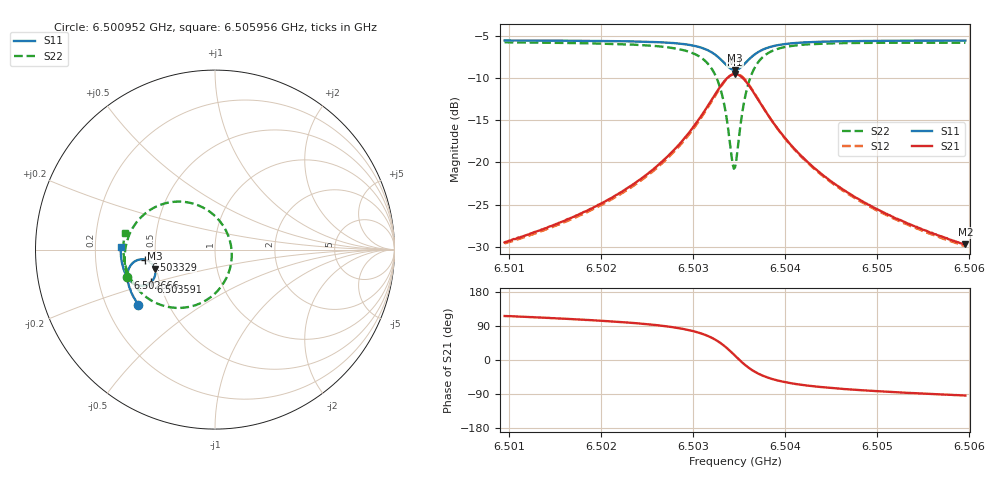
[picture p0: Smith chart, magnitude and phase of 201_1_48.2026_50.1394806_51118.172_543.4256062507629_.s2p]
#  HZ  S  RI  R  50.00
! Rohde & Schwarz Vector Network Analyzer
! Rohde-Schwarz,ZNB20-2Port,1311601062101988,3.16
! Created: UTC 3/20/2024, 11:45:02 AM
! freq[Hz]  re:S11  im:S11  re:S21  im:S21  re:S12  im:S12  re:S22  im:S22
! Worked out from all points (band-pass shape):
!   401 points, 6.500952 GHz to 6.505956 GHz, reference 50 ohm
!   highest |S21| = -9.55 dB at 6.503454 GHz (marker M1); lowest = -29.7 dB at 6.505956 GHz (marker M2)
!   |S21| within 3 dB of the highest: 6.503203 GHz to 6.503704 GHz (500.5 kHz wide, 0.0077 % of centre)
!   lowest |S11| = -9.1 dB at 6.503454 GHz (marker M3), VSWR 2.08, Z = 24.4 - j5.91 ohm
!   |S11| at or under -10 dB: nowhere
!   |S22| runs from -20.7 to -5.8 dB; largest |S21 - S12| = 0.012
!   S11 on the Smith chart (normalised r, x): 6.500952 GHz: 0.34, -0.29; 6.502666 GHz: 0.33, -0.14; 6.503329 GHz: 0.44, -0.06; 6.503591 GHz: 0.45, -0.19; 6.505956 GHz: 0.31, +0.01
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6.5009515e9  -0.4264 -0.3091  -0.0148 0.0302  -0.0132 0.0304  -0.49 -0.154
6.5017898e9  -0.4624 -0.247  -0.0142 0.048  -0.0118 0.0476  -0.5032 -0.0647
6.5022027e9  -0.4771 -0.2107  -0.0118 0.0649  -0.00888 0.0638  -0.5009 -0.00688
6.5026281e9  -0.4874 -0.1642  -0.00202 0.0973  0.00159 0.0949  -0.4799 0.0766
6.5026656e9  -0.4879 -0.1593  -0.000442 0.1014  0.00331 0.0989  -0.4761 0.0862
6.5029409e9  -0.4837 -0.1163  0.0268 0.1442  0.0304 0.1397  -0.4198 0.1724
6.5031286e9  -0.462 -0.0781  0.0817 0.1865  0.0839 0.1804  -0.3151 0.245
6.5032412e9  -0.4289 -0.0574  0.1513 0.204  0.1522 0.1978  -0.1889 0.2671
6.5033287e9  -0.3881 -0.0561  0.2318 0.1873  0.2321 0.1822  -0.0503 0.2252
6.5034163e9  -0.346 -0.0845  0.3088 0.114  0.3113 0.1093  0.0725 0.0809
6.5034414e9  -0.3382 -0.0984  0.3222 0.0826  0.3251 0.0773  0.0891 0.0219
6.5034539e9  -0.3353 -0.106  0.3264 0.066  0.3297 0.0602  0.093 -0.00899
6.5034789e9  -0.3324 -0.1219  0.3299 0.0319  0.3334 0.0249  0.0904 -0.0712
6.5035414e9  -0.3398 -0.1597  0.3108 -0.0467  0.3131 -0.0569  0.0329 -0.2078
6.5035915e9  -0.3565 -0.1817  0.2769 -0.0925  0.2765 -0.1039  -0.0445 -0.279
6.5037041e9  -0.4014 -0.2011  0.1916 -0.1372  0.1863 -0.1469  -0.2174 -0.3248
6.5038667e9  -0.4478 -0.1915  0.1091 -0.1337  0.102 -0.1386  -0.3657 -0.2769
6.5040419e9  -0.4753 -0.1702  0.0644 -0.1133  0.058 -0.1156  -0.438 -0.2113
6.5042921e9  -0.4961 -0.1403  0.0342 -0.0887  0.0292 -0.0891  -0.4817 -0.1387
6.5046675e9  -0.5116 -0.1009  0.0149 -0.0651  0.0116 -0.0647  -0.5041 -0.0634
6.5051304e9  -0.521 -0.058  0.00515 -0.0484  0.00274 -0.0477  -0.5104 0.00234
6.5059562e9  -0.5259 0.0119  -0.00219 -0.0326  -0.00346 -0.0317  -0.5025 0.09
